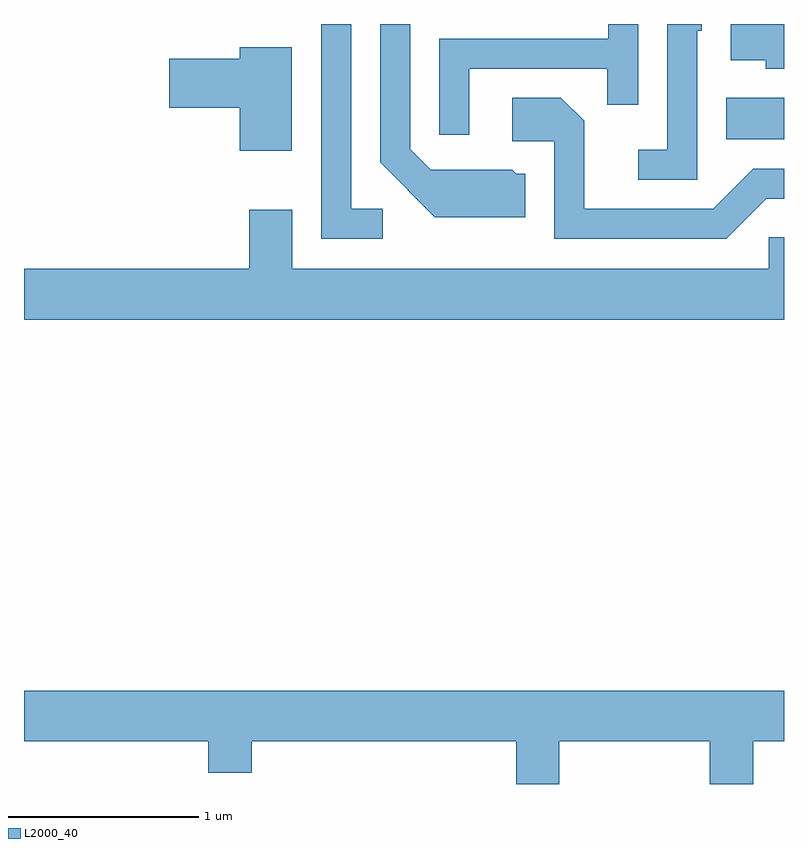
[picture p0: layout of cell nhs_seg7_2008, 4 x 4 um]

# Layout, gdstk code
import gdstk
lib = gdstk.Library(unit=1e-6, precision=1e-09)
def R(c, l, rs):  # rectangles x0, y0, x1, y1
    for r in rs: c.add(gdstk.rectangle(r[:2], r[2:], *l))
def P(c, l, *ps):  # polygons
    for p in ps: c.add(gdstk.Polygon(p, *l))
L2000_40 = (2000, 40)

nhs_seg7_2008 = lib.new_cell('nhs_seg7_2008')
R(nhs_seg7_2008, L2000_40, [(249.306,1779.646,249.611,1779.864)])
P(nhs_seg7_2008, L2000_40, [(247.498,1779.279),(247.334,1779.279),(247.334,1780.252),(247.176,1780.252),(247.176,1779.121),(247.498,1779.121)],
  [(248.249,1779.464),(248.202,1779.464),(248.182,1779.484),(247.752,1779.484),(247.644,1779.592),(247.644,1780.252),(247.486,1780.252),(247.486,1779.524),(247.774,1779.236),(248.249,1779.236)],
  [(247.954,1780.016),(248.681,1780.016),(248.681,1779.828),(248.844,1779.828),(248.844,1780.252),(248.686,1780.252),(248.686,1780.174),(247.796,1780.174),(247.796,1779.668),(247.954,1779.668)],
  [(249.611,1780.252),(249.331,1780.252),(249.331,1780.061),(249.516,1780.061),(249.516,1780.016),(249.611,1780.016)],
  [(249.154,1780.216),(249.179,1780.216),(249.179,1780.252),(248.996,1780.252),(248.996,1779.589),(248.843,1779.589),(248.843,1779.431),(249.154,1779.431)],
  [(247.019,1780.129),(246.746,1780.129),(246.746,1780.069),(246.376,1780.069),(246.376,1779.811),(246.746,1779.811),(246.746,1779.586),(247.019,1779.586)],
  [(249.517,1779.331),(249.611,1779.331),(249.611,1779.489),(249.449,1779.489),(249.239,1779.279),(248.559,1779.279),(248.559,1779.742),(248.437,1779.864),(248.181,1779.864),(248.181,1779.636),(248.401,1779.636),(248.401,1779.121),(249.307,1779.121)],
  [(249.611,1779.129),(249.531,1779.129),(249.531,1778.964),(247.024,1778.964),(247.024,1779.274),(246.796,1779.274),(246.796,1778.964),(245.611,1778.964),(245.611,1778.696),(249.611,1778.696)],
  [(248.429,1776.476),(249.221,1776.476),(249.221,1776.252),(249.449,1776.252),(249.449,1776.476),(249.611,1776.476),(249.611,1776.744),(245.611,1776.744),(245.611,1776.476),(246.581,1776.476),(246.581,1776.311),(246.809,1776.311),(246.809,1776.476),(248.201,1776.476),(248.201,1776.252),(248.429,1776.252)])

lib.write_gds('nhs_seg7_2008.gds')
